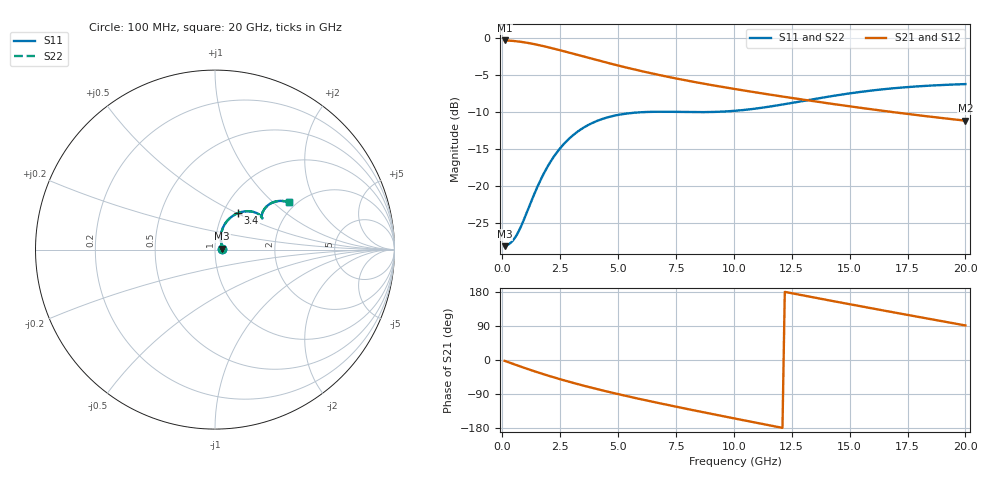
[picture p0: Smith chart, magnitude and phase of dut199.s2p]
! Created with skrf 1.9.0 (http://scikit-rf.org).
# GHz S RI R 50.0
!freq ReS11 ImS11 ReS21 ImS21 ReS12 ImS12 ReS22 ImS22
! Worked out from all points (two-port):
!   200 points, 100 MHz to 20 GHz, reference 50 ohm
!   highest |S21| = -0.35 dB at 100 MHz (marker M1); lowest = -11.2 dB at 20 GHz (marker M2)
!   |S21| within 3 dB of the highest: start of sweep to 4.52 GHz
!   lowest |S11| = -28.1 dB at 100 MHz (marker M3), VSWR 1.08, Z = 54 + j0.525 ohm
!   |S11| at or under -10 dB: start of sweep to 6.29 GHz; 7.655 GHz to 9.134 GHz (1.478 GHz wide, 17.6 % of centre)
!   |S22| runs from -28.1 to -6.2 dB; largest |S21 - S12| = 2.1e-15
!   S11 on the Smith chart (normalised r, x): 100 MHz: 1.08, +0.01; 3.4 GHz: 1.18, +0.51; 20 GHz: 1.83, +1.26
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0.1  0.0389 0.00485  0.9599 -0.0377  0.9599 -0.0377  0.0389 0.00485
0.4  0.0375 0.0186  0.9441 -0.1474  0.9441 -0.1474  0.0375 0.0186
0.7  0.0349 0.0346  0.9113 -0.2511  0.9113 -0.2511  0.0349 0.0346
1.2  0.0325 0.0679  0.8265 -0.4018  0.8265 -0.4018  0.0325 0.0679
1.7  0.0388 0.1069  0.717 -0.5191  0.717 -0.5191  0.0388 0.1069
2.1  0.0522 0.1377  0.6207 -0.5887  0.6207 -0.5887  0.0522 0.1377
2.5  0.0722 0.1648  0.522 -0.6385  0.522 -0.6385  0.0722 0.1648
2.9  0.0965 0.1862  0.4247 -0.6709  0.4247 -0.6709  0.0965 0.1862
3.4  0.1294 0.204  0.3086 -0.6909  0.3086 -0.6909  0.1294 0.204
3.5  0.136 0.2064  0.2863 -0.6925  0.2863 -0.6925  0.136 0.2064
4.2  0.1793 0.214  0.1413 -0.6864  0.1413 -0.6864  0.1793 0.214
5.1  0.2221 0.2074  -0.0159 -0.6449  -0.0159 -0.6449  0.2221 0.2074
5.9  0.246 0.1952  -0.1291 -0.5881  -0.1291 -0.5881  0.246 0.1952
6.8  0.2595 0.1823  -0.2298 -0.5112  -0.2298 -0.5112  0.2595 0.1823
8.4  0.2628 0.1741  -0.35 -0.3575  -0.35 -0.3575  0.2628 0.1741
10.1  0.2609 0.1895  -0.4084 -0.189  -0.4084 -0.189  0.2609 0.1895
11.7  0.2699 0.2173  -0.4087 -0.0405  -0.4087 -0.0405  0.2699 0.2173
13.4  0.2951 0.2469  -0.3629 0.0928  -0.3629 0.0928  0.2951 0.2469
15.1  0.3304 0.2658  -0.2849 0.1916  -0.2849 0.1916  0.3304 0.2658
16.7  0.3639 0.2714  -0.1956 0.2506  -0.1956 0.2506  0.3639 0.2714
18.3  0.391 0.2687  -0.1016 0.278  -0.1016 0.278  0.391 0.2687
20  0.4101 0.2638  -0.00557 0.276  -0.00557 0.276  0.4101 0.2638
